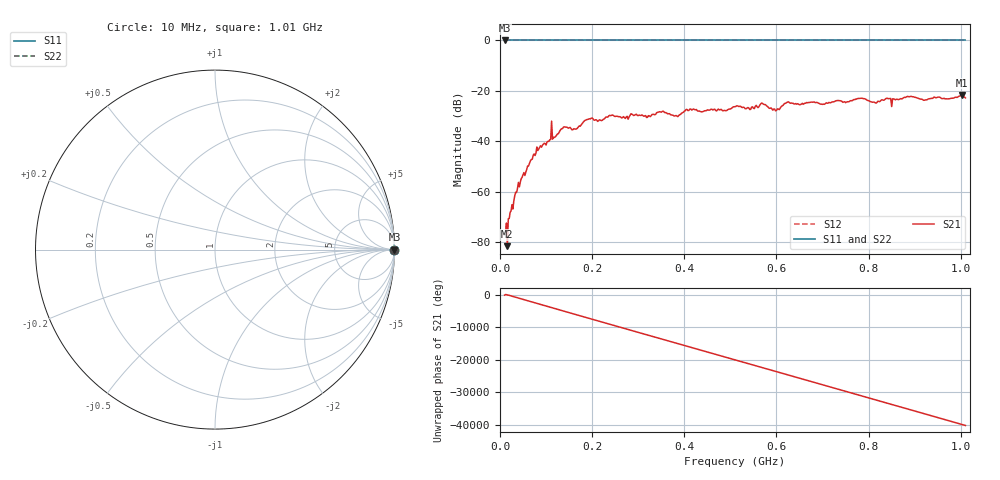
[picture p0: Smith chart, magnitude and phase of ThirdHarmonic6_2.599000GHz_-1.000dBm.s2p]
! 8/17/2025 5:37:06 AM
! C:\ANRITSUVNA\TEMP\TEMP.S2P
! CHANNEL.1
! TR.MEASUREMENT
! RAW.DATA
! RF.CORRECTION.OFF
! AVERAGING.OFF
! IF.BANDWIDTH: 5KHZ
! SWEEPTYPE:  FREQ.SWEEP(Linear)
! Reference Plane Port Info
! PORT:  PORT1  PORT2
! DISTANCE:  0  m  0  m
! TIME:  0  s  0  s
! PHASE.OFFSET:  0  deg.  0  deg.
! LOSS:  0  dB  0  dB
! REF.LOSS:  0  dB  0  dB
! REF.FREQ:  0  Hz  0  Hz
! Power Info
! POWER:  -20  dBm  -20  dBm
! EFF.POWER:  -20  dBm  -20  dBm
! SOURCE.ATTEN:  0  dB  0  dB
! TEST.ATTEN:  0  dB  0  dB
# GHZ S RI R 50.0
! FREQ.GHZ  S11RE  S11IM  S21RE  S21IM  S12RE  S12IM  S22RE  S22IM
!; PortSelection: Port_12
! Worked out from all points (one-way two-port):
!   501 points, 10 MHz to 1.01 GHz, reference 50 ohm
!   highest |S21| = -21.67 dB at 1.002 GHz (marker M1); lowest = -81.7 dB at 16 MHz (marker M2)
!   lowest |S11| = 0.0 dB at 10 MHz (marker M3)
!   |S11| at or under -10 dB: nowhere
!   |S22| runs from 0.0 to 0.0 dB; largest |S21 - S12| = 1.1
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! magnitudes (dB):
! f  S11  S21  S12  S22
! 10 MHz  0.0  -77.1  0.0  0.0
! 16 MHz  0.0  -81.7  0.0  0.0
! 36 MHz  0.0  -60.4  0.0  0.0
! 84 MHz  0.0  -43.1  0.0  0.0
! 136 MHz  0.0  -34.9  0.0  0.0
! 162 MHz  0.0  -35.1  0.0  0.0
! 178 MHz  0.0  -33.1  0.0  0.0
! 240 MHz  0.0  -29.8  0.0  0.0
! 322 MHz  0.0  -29.9  0.0  0.0
! 344 MHz  0.0  -28.4  0.0  0.0
! 382 MHz  0.0  -29.8  0.0  0.0
! 408 MHz  0.0  -27.9  0.0  0.0
! 488 MHz  0.0  -27.8  0.0  0.0
! 510 MHz  0.0  -26.3  0.0  0.0
! 570 MHz  0.0  -25.1  0.0  0.0
! 596 MHz  0.0  -27.2  0.0  0.0
! 622 MHz  0.0  -24.7  0.0  0.0
! 678 MHz  0.0  -24.5  0.0  0.0
! 814 MHz  0.0  -24.7  0.0  0.0
! 844 MHz  0.0  -23.1  0.0  0.0
! 1.002 GHz  0.0  -21.7  0.0  0.0
! 1.01 GHz  0.0  -22.8  0.0  0.0
